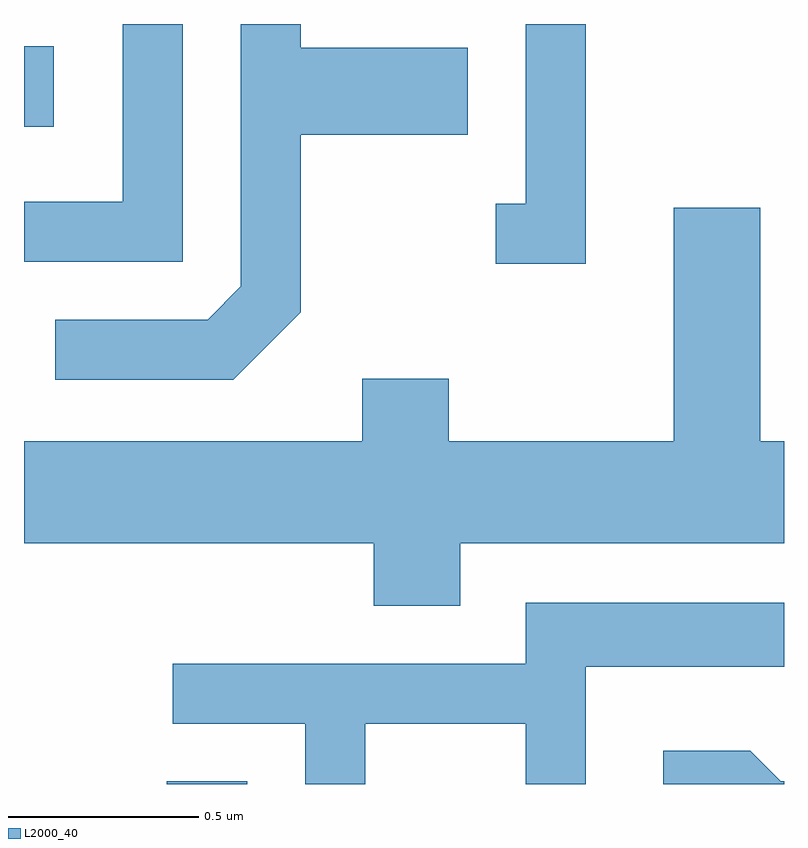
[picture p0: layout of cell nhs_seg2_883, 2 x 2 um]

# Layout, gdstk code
import gdstk
lib = gdstk.Library(unit=1e-6, precision=1e-09)
def R(c, l, rs):  # rectangles x0, y0, x1, y1
    for r in rs: c.add(gdstk.rectangle(r[:2], r[2:], *l))
def P(c, l, *ps):  # polygons
    for p in ps: c.add(gdstk.Polygon(p, *l))
L2000_40 = (2000, 40)

nhs_seg2_883 = lib.new_cell('nhs_seg2_883')
R(nhs_seg2_883, L2000_40, [(191.986,1038.802,192.199,1038.809), (191.611,1040.531,191.689,1040.744)])
P(nhs_seg2_883, L2000_40, [(192.029,1040.802),(191.871,1040.802),(191.871,1040.334),(191.611,1040.334),(191.611,1040.176),(192.029,1040.176)],
  [(192.339,1040.044),(192.339,1040.511),(192.779,1040.511),(192.779,1040.739),(192.339,1040.739),(192.339,1040.802),(192.181,1040.802),(192.181,1040.112),(192.094,1040.024),(191.693,1040.024),(191.693,1039.866),(192.162,1039.866)],
  [(193.089,1040.802),(192.931,1040.802),(192.931,1040.329),(192.853,1040.329),(192.853,1040.171),(193.089,1040.171)],
  [(192.759,1039.436),(193.611,1039.436),(193.611,1039.704),(193.549,1039.704),(193.549,1040.319),(193.321,1040.319),(193.321,1039.704),(192.729,1039.704),(192.729,1039.869),(192.501,1039.869),(192.501,1039.704),(191.611,1039.704),(191.611,1039.436),(192.531,1039.436),(192.531,1039.271),(192.759,1039.271)],
  [(192.509,1038.961),(192.931,1038.961),(192.931,1038.802),(193.089,1038.802),(193.089,1039.111),(193.611,1039.111),(193.611,1039.279),(192.931,1039.279),(192.931,1039.119),(192.003,1039.119),(192.003,1038.961),(192.351,1038.961),(192.351,1038.802),(192.509,1038.802)],
  [(193.611,1038.809),(193.602,1038.809),(193.522,1038.889),(193.293,1038.889),(193.293,1038.802),(193.611,1038.802)])

lib.write_gds('nhs_seg2_883.gds')
